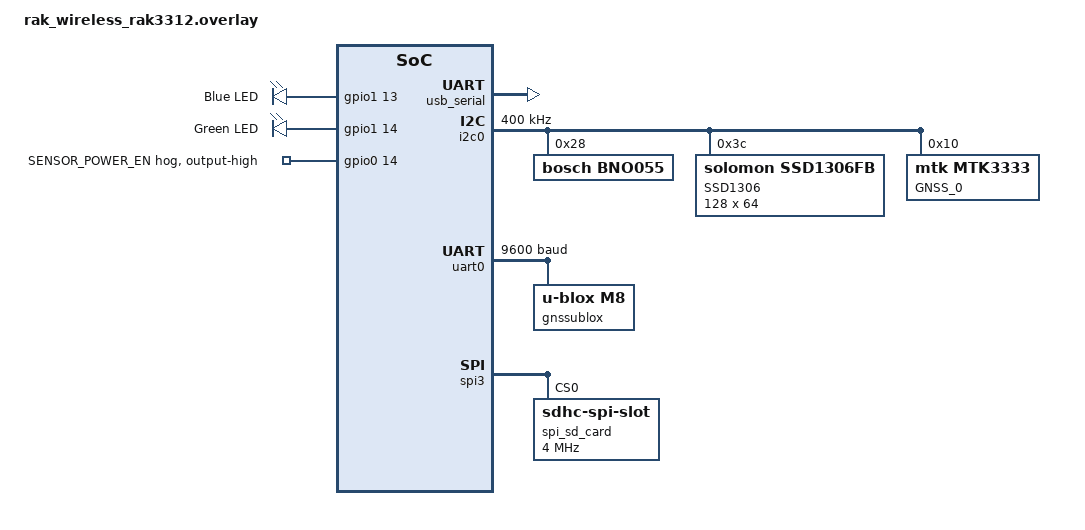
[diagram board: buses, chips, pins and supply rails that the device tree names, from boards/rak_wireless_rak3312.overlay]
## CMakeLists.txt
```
# SPDX-License-Identifier: Apache-2.0

cmake_minimum_required(VERSION 3.13.1)

get_filename_component(PARENT_DIR "${CMAKE_CURRENT_SOURCE_DIR}" DIRECTORY)
list(APPEND ZEPHYR_EXTRA_MODULES ${PARENT_DIR}/astro_custom_modules/libmicroros)
list(APPEND ZEPHYR_EXTRA_MODULES ${PARENT_DIR}/astro_custom_modules/sensor)
list(APPEND ZEPHYR_EXTRA_MODULES ${PARENT_DIR}/astro_custom_modules/iim42652_rak12033)
list(APPEND ZEPHYR_EXTRA_MODULES ${PARENT_DIR}/astro_custom_modules/gnss)

# Include local credentials (Wi-Fi SSID/password, agent IP) without committing them.
# Copy local.conf.example -> local.conf and fill in your values.
if(EXISTS "${CMAKE_CURRENT_SOURCE_DIR}/local.conf")
    list(APPEND OVERLAY_CONFIG "${CMAKE_CURRENT_SOURCE_DIR}/local.conf")
endif()

find_package(Zephyr REQUIRED HINTS $ENV{ZEPHYR_BASE})
project(microros_node)
if(CONFIG_PICOLIBC)
    add_compile_definitions(__STDC_WANT_LIB_EXT1__=1)
endif()

# The ESP32 WiFi adapter (libzephyr) and picolibc both define random().
# Allow the linker to pick the first definition (ESP32's) and ignore the duplicate.
if(CONFIG_WIFI_ESP32 AND CONFIG_PICOLIBC)
    zephyr_link_libraries(-Wl,--allow-multiple-definition)
endif()


target_sources(app PRIVATE src/node_main.cpp src/storage.cpp src/oled_wrapper.cpp src/oled_layout.cpp src/cfb_font_0608.c)
message(board name is ${BOARD} \n\n)
if(BOARD STREQUAL "adafruit_feather_esp32s3")
    target_sources(app PRIVATE src/status_class.cpp)
endif()
```

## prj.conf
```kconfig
CONFIG_GPIO=y

# Display / OLED
CONFIG_DISPLAY=y
CONFIG_CHARACTER_FRAMEBUFFER=y
CONFIG_CHARACTER_FRAMEBUFFER_USE_DEFAULT_FONTS=n
CONFIG_MICROROS=y
CONFIG_MICROROS_PUBLISHERS="8"
CONFIG_MICROROS_SUBSCRIBERS="5"
CONFIG_MICROROS_CLIENTS="5"
CONFIG_MICROROS_SERVERS="5"
CONFIG_MICROROS_XRCE_DDS_HISTORIC="8"
CONFIG_MICROROS_RMW_HISTORIC="8"
CONFIG_MICROROS_XRCE_DDS_MTU="512"
CONFIG_MICROROS_TRANSPORT_UDP=y
# Wi-Fi credentials and agent address are kept out of version control.
# Set them in local.conf (see local.conf.example).

CONFIG_NETWORKING=y
CONFIG_NET_IPV4=y
CONFIG_NET_IPV6=n
CONFIG_NET_UDP=y
CONFIG_NET_DHCPV4=y
CONFIG_NET_SOCKETS=y
CONFIG_NET_MGMT=y
CONFIG_NET_MGMT_EVENT=y
CONFIG_NET_MGMT_EVENT_INFO=y
CONFIG_NET_L2_WIFI_MGMT=y
CONFIG_WIFI=y
CONFIG_WIFI_ESP32=y
CONFIG_ESP32_WIFI_STA_AUTO_DHCPV4=y
CONFIG_CPP=y

CONFIG_MAIN_STACK_SIZE=8192

CONFIG_PICOLIBC=y
CONFIG_POSIX_API=y

CONFIG_STDOUT_CONSOLE=y
CONFIG_LOG=y
CONFIG_SERIAL=y
CONFIG_UART_CONSOLE=y
CONFIG_CONSOLE=y
CONFIG_PICOLIBC_MODULE=y
CONFIG_STD_CPP14=y
CONFIG_REQUIRES_FULL_LIBCPP=y
CONFIG_POSIX_CLOCK_SELECTION=y
```

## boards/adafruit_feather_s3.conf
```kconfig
# USB device (new stack)
CONFIG_USB_DEVICE_STACK_NEXT=y
CONFIG_USB_DEVICE_PRODUCT="ESP32_S3"
CONFIG_USB_DEVICE_MANUFACTURER="Arduino"

# CDC ACM class
CONFIG_USB_CDC_ACM=y

# Console over USB
CONFIG_SERIAL=y
CONFIG_UART_CONSOLE=y
CONFIG_UART_INTERRUPT_DRIVEN=y
CONFIG_CONSOLE=y

# Logging (optional but useful)
CONFIG_LOG=y
CONFIG_LOG_MODE_DEFERRED=y

CONFIG_MICROROS_TRANSPORT_UDP=y

#Neopixel
CONFIG_LED_STRIP=y
CONFIG_WS2812_STRIP_SPI=y
CONFIG_POWER_DOMAIN=y
CONFIG_POWER_DOMAIN_GPIO=y
#Sensors
CONFIG_I2C=y
CONFIG_SENSOR=y
CONFIG_SENSOR_LOG_LEVEL_DBG=y
CONFIG_CBPRINTF_FP_SUPPORT=y
CONFIG_CBPRINTF_COMPLETE=y


CONFIG_DISPLAY=y
CONFIG_SSD1306=y
CONFIG_SSD1306_DEFAULT_CONTRAST=128
CONFIG_CHARACTER_FRAMEBUFFER=y
CONFIG_CHARACTER_FRAMEBUFFER_USE_DEFAULT_FONTS=y
CONFIG_CFB_LOG_LEVEL_INF=y

CONFIG_GNSS=y
CONFIG_GNSS_SATELLITES=y
CONFIG_MTK3333=y

CONFIG_WATCHDOG=y
CONFIG_WDT_LOG_LEVEL_INF=y
CONFIG_HWINFO=y

# micro-ROS over Wi-Fi (UDP)
CONFIG_NETWORKING=y
CONFIG_NET_IPV4=y
CONFIG_NET_IPV6=n
CONFIG_NET_UDP=y
CONFIG_NET_DHCPV4=y
CONFIG_NET_SOCKETS=y
CONFIG_NET_MGMT=y
CONFIG_NET_MGMT_EVENT=y
CONFIG_NET_MGMT_EVENT_INFO=y
CONFIG_NET_L2_WIFI_MGMT=y
CONFIG_WIFI=y
CONFIG_WIFI_ESP32=y
CONFIG_ESP32_WIFI_STA_AUTO_DHCPV4=y

# Wi-Fi credentials and agent address are kept out of version control.
# Set them in local.conf (see local.conf.example).
```

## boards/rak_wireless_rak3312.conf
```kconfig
# USB device (new stack)
CONFIG_USB_DEVICE_STACK_NEXT=y
CONFIG_USB_DEVICE_PRODUCT="ESP32_S3"
CONFIG_USB_DEVICE_MANUFACTURER="RAK Wireless"

# CDC ACM class
CONFIG_USB_CDC_ACM=y

# Console over USB
CONFIG_SERIAL=y
CONFIG_UART_CONSOLE=y
CONFIG_UART_INTERRUPT_DRIVEN=y
CONFIG_CONSOLE=y

# Logging (optional but useful)
CONFIG_LOG=y
CONFIG_LOG_MODE_DEFERRED=y

CONFIG_MICROROS_TRANSPORT_UDP=y

CONFIG_PRINTK=y
CONFIG_LOG_DEFAULT_LEVEL=3

#Sensors
CONFIG_I2C=y
CONFIG_SENSOR=y
CONFIG_BNO055=y
CONFIG_SENSOR_LOG_LEVEL_DBG=y
CONFIG_CBPRINTF_FP_SUPPORT=y
CONFIG_CBPRINTF_COMPLETE=y
CONFIG_GPIO=y
CONFIG_IIM42652=y

CONFIG_DISPLAY=y
CONFIG_SSD1306=y
CONFIG_SSD1306_DEFAULT_CONTRAST=128
CONFIG_CHARACTER_FRAMEBUFFER=y
CONFIG_CHARACTER_FRAMEBUFFER_USE_DEFAULT_FONTS=y
CONFIG_CFB_LOG_LEVEL_INF=y

CONFIG_GNSS=y
CONFIG_GNSS_SATELLITES=y
CONFIG_MTK3333=y

CONFIG_ESP_SPIRAM=y
CONFIG_SPIRAM_MODE_OCT=y
CONFIG_ESP_SPIRAM_MEMTEST=y

CONFIG_WATCHDOG=y
CONFIG_WDT_LOG_LEVEL_INF=y
CONFIG_HWINFO=y

# Enable LED driver
CONFIG_LED=y
CONFIG_PM=n
CONFIG_PM_DEVICE=n
CONFIG_PM_DEVICE_RUNTIME=n

# SDMMC
CONFIG_FILE_SYSTEM=y
CONFIG_FAT_FILESYSTEM_ELM=y
CONFIG_FILE_SYSTEM_MKFS=y

CONFIG_DISK_ACCESS=y
CONFIG_DISK_DRIVER_SDMMC=y
CONFIG_SPI=y
CONFIG_GPIO=y
# Enable FAT Long Filename support
CONFIG_FS_FATFS_LFN=y
CONFIG_FS_FATFS_LFN_MODE_HEAP=y

# Shell access
CONFIG_SHELL=y
CONFIG_SHELL_BACKEND_SERIAL=y
CONFIG_FILE_SYSTEM_SHELL=y
CONFIG_KERNEL_SHELL=y


# ========== NEW USB STACK ==========
CONFIG_USB_DEVICE_INITIALIZE_AT_BOOT=n

# USB Mass Storage (NEW API)
CONFIG_USBD_MSC_CLASS=y
CONFIG_USBD_MSC_LUNS_PER_INSTANCE=3
CONFIG_CDC_ACM_SERIAL_INITIALIZE_AT_BOOT=n

# USB Device Info
CONFIG_USB_DEVICE_VID=0x2FE3
CONFIG_USB_DEVICE_PID=0x0100

# Heap (USB needs more)
CONFIG_HEAP_MEM_POOL_SIZE=65536

# USB Logging
CONFIG_USB_DEVICE_LOG_LEVEL_INF=y
CONFIG_USBD_LOG_LEVEL_INF=y

# micro-ROS over Wi-Fi (UDP)
CONFIG_NETWORKING=y
CONFIG_NET_IPV4=y
CONFIG_NET_IPV6=n
CONFIG_NET_UDP=y
CONFIG_NET_DHCPV4=y
CONFIG_NET_SOCKETS=y
CONFIG_NET_MGMT=y
CONFIG_NET_MGMT_EVENT=y
CONFIG_NET_MGMT_EVENT_INFO=y
CONFIG_NET_L2_WIFI_MGMT=y
CONFIG_WIFI=y
CONFIG_WIFI_ESP32=y
CONFIG_ESP32_WIFI_STA_AUTO_DHCPV4=y

# Wi-Fi credentials and agent address are kept out of version control.
# Set them in local.conf (see local.conf.example).
```

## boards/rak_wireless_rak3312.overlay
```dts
#include <zephyr/dt-bindings/led/led.h>


/ {
	chosen {
		zephyr,console = &usb_serial;
		zephyr,shell-uart = &usb_serial;
	};
    aliases {
        op-green-led = &green_led;
        op-blue-led = &blue_led;
        gnss = &gnssnode;
        ubloxgnss = &gnssublox;
    };
    leds {
		compatible = "gpio-leds";
		blue_led: led_0 {
			gpios = <&gpio1 13 GPIO_ACTIVE_HIGH>; /* G45 */
			label = "Blue LED";
		};
		green_led: led_1 {
			gpios = <&gpio1 14 GPIO_ACTIVE_HIGH>; /* G46 */
			label = "Green LED";
		};
	};
};

&usb_serial {
	status = "okay";
};
&gpio1 {
	status = "okay";
};

&gpio0 {
    status = "okay";
     /*
     * Needed to power the sensor slot A ( and possibly B , C and D )
     */
    sensor_slot_power: sensor-slot-power {
        gpio-hog;
        gpios = <14 GPIO_ACTIVE_HIGH>;
        output-high;
        line-name = "SENSOR_POWER_EN";
    };
};



&i2c0 {
	status = "okay";
	pinctrl-0 = <&i2c0_default>;
	pinctrl-names = "default";
	clock-frequency = <I2C_BITRATE_FAST>;
    bno055: bno055@28 {
        status = "okay";
        compatible = "bosch,bno055";
        reg = <0x28>;
        use_xtal;
        zephyr,deferred-init;
    };
    iim42652: iim42652@69 {
        status = "disabled";
        compatible = "tdk,iim42652";
        reg = <0x69>;
        zephyr,deferred-init;
    };
    ssd1306: ssd1306@3c {
        status = "okay";
        compatible = "solomon,ssd1306fb";
        reg = <0x3c>;
        width = <128>;
        height = <64>;

        segment-offset = <0>;
        page-offset = <0>;
        display-offset = <0>;
        multiplex-ratio = <63>;
        prechargep = <0x22>;
        label = "SSD1306";
        ready-time-ms = <1000>;
        segment-remap;
        com-invdir;
    };
    gnssnode: gnss@10 {
        compatible = "mtk,mtk3333";
        reg = <0x10>;
        label = "GNSS_0";
        status = "okay";
    };
};

&uart0 {
    status = "okay";
    current-speed = <9600>;
    gnssublox: u_blox_m10 {
        status = "okay";
        compatible = "u-blox,m8";
        initial-baudrate = <9600>;
    };
};

&spi3 {
    status = "okay";
    pinctrl-0 = <&spim3_default>;
    pinctrl-names = "default";
    /* Override address/size cells for proper SPI device addressing */
    #address-cells = <1>;
    #size-cells = <0>;
    spi_sd_card: sdhc@0 {  /* Changed label from sdhc0 to spi_sd_card */
        compatible = "zephyr,sdhc-spi-slot";
        reg = <0>;
        status = "okay";
        spi-max-frequency = <4000000>;

        mmc {
            compatible = "zephyr,sdmmc-disk";
            disk-name = "SD";
            status = "okay";
        };
    };
};
```

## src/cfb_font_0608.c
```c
/*
 * This file was automatically generated using the following command:
 * /projects/github_repos/astro/zephyr_workspace/zephyr/scripts/build/gen_cfb_font_header.py -i /usr/share/fonts/truetype/dejavu/DejaVuSansMono.ttf -s 9 -x 6 -y 8 -n font0608 --first 32 --last 126 --y-offset -2
 *
 */

#include <zephyr/kernel.h>
#include <zephyr/display/cfb.h>

static const uint8_t cfb_font_font0608_68[95][6] = {
	/* 32 ( ) */
	{
		0x00,   /*          */
		0x00,   /*          */
		0x00,   /*          */
		0x00,   /*          */
		0x00,   /*          */
		0x00,   /*          */
	},
	/* 33 (!) */
	{
		0x00,   /*          */
		0x00,   /*          */
		0x5f,   /* ##### #  */
		0x00,   /*          */
		0x00,   /*          */
		0x00,   /*          */
	},
	/* 34 (") */
	{
		0x00,   /*          */
		0x03,   /* ##       */
		0x00,   /*          */
		0x03,   /* ##       */
		0x00,   /*          */
		0x00,   /*          */
	},
	/* 35 (#) */
	{
		0x54,   /*   # # #  */
		0x3e,   /*  #####   */
		0x75,   /* # # ###  */
		0x1f,   /* #####    */
		0x14,   /*   # #    */
		0x00,   /*          */
	},
	/* 36 ($) */
	{
		0x00,   /*          */
		0x4c,   /*   ##  #  */
		0x4a,   /*  # #  #  */
		0xff,   /* ######## */
		0x52,   /*  #  # #  */
		0x32,   /*  #  ##   */
	},
	/* 37 (%) */
	{
		0x07,   /* ###      */
		0x15,   /* # # #    */
		0x7f,   /* #######  */
		0x58,   /*    ## #  */
		0x74,   /*   # ###  */
		0x00,   /*          */
	},
	/* 38 (&) */
	{
		0x00,   /*          */
		0x30,   /*     ##   */
		0x4f,   /* ####  #  */
		0x79,   /* #  ####  */
		0x51,   /* #   # #  */
		0x00,   /*          */
	},
	/* 39 (') */
	{
		0x00,   /*          */
		0x00,   /*          */
		0x03,   /* ##       */
		0x00,   /*          */
		0x00,   /*          */
		0x00,   /*          */
	},
	/* 40 (() */
	{
		0x00,   /*          */
		0x00,   /*          */
		0x3f,   /* ######   */
		0x40,   /*       #  */
		0x00,   /*          */
		0x00,   /*          */
	},
	/* 41 ()) */
	{
		0x00,   /*          */
		0x00,   /*          */
		0x61,   /* #    ##  */
		0x1e,   /*  ####    */
		0x00,   /*          */
		0x00,   /*          */
	},
	/* 42 (*) */
	{
		0x09,   /* #  #     */
		0x06,   /*  ##      */
		0x0f,   /* ####     */
		0x06,   /*  ##      */
		0x09,   /* #  #     */
		0x00,   /*          */
	},
	/* 43 (+) */
	{
		0x10,   /*     #    */
		0x10,   /*     #    */
		0x7c,   /*   #####  */
		0x10,   /*     #    */
		0x10,   /*     #    */
		0x00,   /*          */
	},
	/* 44 (,) */
	{
		0x00,   /*          */
		0x00,   /*          */
		0xc0,   /*       ## */
		0x00,   /*          */
		0x00,   /*          */
		0x00,   /*          */
	},
	/* 45 (-) */
	{
		0x00,   /*          */
		0x00,   /*          */
		0x10,   /*     #    */
		0x10,   /*     #    */
		0x00,   /*          */
		0x00,   /*          */
	},
	/* 46 (.) */
	{
		0x00,   /*          */
		0x00,   /*          */
		0x40,   /*       #  */
		0x00,   /*          */
		0x00,   /*          */
		0x00,   /*          */
	},
	/* 47 (/) */
	{
		0x40,   /*       #  */
		0x38,   /*    ###   */
		0x0e,   /*  ###     */
		0x01,   /* #        */
		0x00,   /*          */
		0x00,   /*          */
	},
	/* 48 (0) */
	{
		0x00,   /*          */
		0x3e,   /*  #####   */
		0x41,   /* #     #  */
		0x49,   /* #  #  #  */
		0x3e,   /*  #####   */
		0x00,   /*          */
	},
	/* 49 (1) */
	{
		0x00,   /*          */
		0x00,   /*          */
		0x41,   /* #     #  */
		0x7f,   /* #######  */
		0x40,   /*       #  */
		0x00,   /*          */
	},
	/* 50 (2) */
	{
		0x00,   /*          */
		0x62,   /*  #   ##  */
		0x71,   /* #   ###  */
		0x59,   /* #  ## #  */
		0x4e,   /*  ###  #  */
		0x00,   /*          */
	},
	/* 51 (3) */
	{
		0x00,   /*          */
		0x42,   /*  #    #  */
		0x49,   /* #  #  #  */
		0x49,   /* #  #  #  */
		0x36,   /*  ## ##   */
		0x00,   /*          */
	},
	/* 52 (4) */
	{
		0x00,   /*          */
		0x30,   /*     ##   */
		0x2c,   /*   ## #   */
		0x7f,   /* #######  */
		0x20,   /*      #   */
		0x00,   /*          */
	},
	/* 53 (5) */
	{
		0x00,   /*          */
		0x4f,   /* ####  #  */
		0x49,   /* #  #  #  */
		0x49,   /* #  #  #  */
		0x31,   /* #   ##   */
		0x00,   /*          */
	},
	/* 54 (6) */
	{
		0x00,   /*          */
		0x3e,   /*  #####   */
		0x4b,   /* ## #  #  */
		0x49,   /* #  #  #  */
		0x39,   /* #  ###   */
		0x00,   /*          */
	},
	/* 55 (7) */
	{
		0x00,   /*          */
		0x01,   /* #        */
		0x61,   /* #    ##  */
		0x3d,   /* # ####   */
		0x03,   /* ##       */
		0x00,   /*          */
	},
	/* 56 (8) */
	{
		0x00,   /*          */
		0x36,   /*  ## ##   */
		0x49,   /* #  #  #  */
		0x49,   /* #  #  #  */
		0x36,   /*  ## ##   */
		0x00,   /*          */
	},
	/* 57 (9) */
	{
		0x00,   /*          */
		0x4e,   /*  ###  #  */
		0x49,   /* #  #  #  */
		0x69,   /* #  # ##  */
		0x3e,   /*  #####   */
		0x00,   /*          */
	},
	/* 58 (:) */
	{
		0x00,   /*          */
		0x00,   /*          */
		0x44,   /*   #   #  */
		0x00,   /*          */
		0x00,   /*          */
		0x00,   /*          */
	},
	/* 59 (;) */
	{
		0x00,   /*          */
		0x00,   /*          */
		0xc4,   /*   #   ## */
		0x00,   /*          */
		0x00,   /*          */
		0x00,   /*          */
	},
	/* 60 (<) */
	{
		0x00,   /*          */
		0x10,   /*     #    */
		0x18,   /*    ##    */
		0x18,   /*    ##    */
		0x28,   /*    # #   */
		0x24,   /*   #  #   */
	},
	/* 61 (=) */
	{
		0x28,   /*    # #   */
		0x28,   /*    # #   */
		0x28,   /*    # #   */
		0x28,   /*    # #   */
		0x28,   /*    # #   */
		0x00,   /*          */
	},
	/* 62 (>) */
	{
		0x00,   /*          */
		0x24,   /*   #  #   */
		0x28,   /*    # #   */
		0x18,   /*    ##    */
		0x18,   /*    ##    */
		0x10,   /*     #    */
	},
	/* 63 (?) */
	{
		0x00,   /*          */
		0x01,   /* #        */
		0x59,   /* #  ## #  */
		0x05,   /* # #      */
		0x03,   /* ##       */
		0x00,   /*          */
	},
	/* 64 (@) */
	{
		0x00,   /*          */
		0x7c,   /*   #####  */
		0xc2,   /*  #    ## */
		0xba,   /*  # ### # */
		0x3c,   /*   ####   */
		0x00,   /*          */
	},
	/* 65 (A) */
	{
		0x00,   /*          */
		0x78,   /*    ####  */
		0x27,   /* ###  #   */
		0x27,   /* ###  #   */
		0x78,   /*    ####  */
		0x00,   /*          */
	},
	/* 66 (B) */
	{
		0x00,   /*          */
		0x7f,   /* #######  */
		0x49,   /* #  #  #  */
		0x49,   /* #  #  #  */
		0x76,   /*  ## ###  */
		0x00,   /*          */
	},
	/* 67 (C) */
	{
		0x00,   /*          */
		0x3e,   /*  #####   */
		0x41,   /* #     #  */
		0x41,   /* #     #  */
		0x41,   /* #     #  */
		0x00,   /*          */
	},
	/* 68 (D) */
	{
		0x00,   /*          */
		0x7f,   /* #######  */
		0x41,   /* #     #  */
		0x41,   /* #     #  */
		0x3e,   /*  #####   */
		0x00,   /*          */
	},
	/* 69 (E) */
	{
		0x00,   /*          */
		0x7f,   /* #######  */
		0x49,   /* #  #  #  */
		0x49,   /* #  #  #  */
		0x49,   /* #  #  #  */
		0x00,   /*          */
	},
	/* 70 (F) */
	{
		0x00,   /*          */
		0x7f,   /* #######  */
		0x09,   /* #  #     */
		0x09,   /* #  #     */
		0x09,   /* #  #     */
		0x00,   /*          */
	},
	/* 71 (G) */
	{
		0x00,   /*          */
		0x3e,   /*  #####   */
		0x41,   /* #     #  */
		0x49,   /* #  #  #  */
		0x79,   /* #  ####  */
		0x00,   /*          */
	},
	/* 72 (H) */
	{
		0x00,   /*          */
		0x7f,   /* #######  */
		0x08,   /*    #     */
		0x08,   /*    #     */
		0x7f,   /* #######  */
		0x00,   /*          */
	},
	/* 73 (I) */
	{
		0x00,   /*          */
		0x41,   /* #     #  */
		0x7f,   /* #######  */
		0x41,   /* #     #  */
		0x00,   /*          */
		0x00,   /*          */
	},
	/* 74 (J) */
	{
		0x00,   /*          */
		0x40,   /*       #  */
		0x41,   /* #     #  */
		0x41,   /* #     #  */
		0x7f,   /* #######  */
		0x00,   /*          */
	},
	/* 75 (K) */
	{
		0x00,   /*          */
		0x7f,   /* #######  */
		0x0c,   /*   ##     */
		0x32,   /*  #  ##   */
		0x41,   /* #     #  */
		0x00,   /*          */
	},
	/* 76 (L) */
	{
		0x00,   /*          */
		0x7f,   /* #######  */
		0x40,   /*       #  */
		0x40,   /*       #  */
		0x40,   /*       #  */
		0x00,   /*          */
	},
	/* 77 (M) */
	{
		0x00,   /*          */
		0x7f,   /* #######  */
		0x1e,   /*  ####    */
		0x1e,   /*  ####    */
		0x7f,   /* #######  */
		0x00,   /*          */
	},
	/* 78 (N) */
	{
		0x00,   /*          */
		0x7f,   /* #######  */
		0x06,   /*  ##      */
		0x38,   /*    ###   */
		0x7f,   /* #######  */
		0x00,   /*          */
	},
	/* 79 (O) */
	{
		0x00,   /*          */
		0x3e,   /*  #####   */
		0x41,   /* #     #  */
		0x41,   /* #     #  */
		0x3e,   /*  #####   */
		0x00,   /*          */
	},
	/* 80 (P) */
	{
		0x00,   /*          */
		0x7f,   /* #######  */
		0x09,   /* #  #     */
		0x09,   /* #  #     */
		0x06,   /*  ##      */
		0x00,   /*          */
	},
	/* 81 (Q) */
	{
		0x00,   /*          */
		0x3e,   /*  #####   */
		0x41,   /* #     #  */
		0x41,   /* #     #  */
		0xbe,   /*  ##### # */
		0x00,   /*          */
	},
	/* 82 (R) */
	{
		0x00,   /*          */
		0x7f,   /* #######  */
		0x09,   /* #  #     */
		0x19,   /* #  ##    */
		0x36,   /*  ## ##   */
		0x40,   /*       #  */
	},
	/* 83 (S) */
	{
		0x00,   /*          */
		0x26,   /*  ##  #   */
		0x49,   /* #  #  #  */
		0x49,   /* #  #  #  */
		0x3a,   /*  # ###   */
		0x00,   /*          */
	},
	/* 84 (T) */
	{
		0x01,   /* #        */
		0x01,   /* #        */
		0x7f,   /* #######  */
		0x01,   /* #        */
		0x01,   /* #        */
		0x00,   /*          */
	},
	/* 85 (U) */
	{
		0x00,   /*          */
		0x3f,   /* ######   */
		0x40,   /*       #  */
		0x40,   /*       #  */
		0x3f,   /* ######   */
		0x00,   /*          */
	},
	/* 86 (V) */
	{
		0x00,   /*          */
		0x03,   /* ##       */
		0x7c,   /*   #####  */
		0x7c,   /*   #####  */
		0x03,   /* ##       */
		0x00,   /*          */
	},
	/* 87 (W) */
	{
		0x0f,   /* ####     */
		0x78,   /*    ####  */
		0x04,   /*   #      */
		0x78,   /*    ####  */
		0x0f,   /* ####     */
		0x00,   /*          */
	},
	/* 88 (X) */
	{
		0x00,   /*          */
		0x63,   /* ##   ##  */
		0x1c,   /*   ###    */
		0x1c,   /*   ###    */
		0x63,   /* ##   ##  */
		0x00,   /*          */
	},
	/* 89 (Y) */
	{
		0x01,   /* #        */
		0x06,   /*  ##      */
		0x78,   /*    ####  */
		0x06,   /*  ##      */
		0x01,   /* #        */
		0x00,   /*          */
	},
	/* 90 (Z) */
	{
		0x00,   /*          */
		0x61,   /* #    ##  */
		0x51,   /* #   # #  */
		0x4d,   /* # ##  #  */
		0x43,   /* ##    #  */
		0x00,   /*          */
	},
	/* 91 ([) */
	{
		0x00,   /*          */
		0x00,   /*          */
		0x7f,   /* #######  */
		0x40,   /*       #  */
		0x00,   /*          */
		0x00,   /*          */
	},
	/* 92 (\) */
	{
		0x01,   /* #        */
		0x0e,   /*  ###     */
		0x38,   /*    ###   */
		0x40,   /*       #  */
		0x00,   /*          */
		0x00,   /*          */
	},
	/* 93 (]) */
	{
		0x00,   /*          */
		0x00,   /*          */
		0x40,   /*       #  */
		0x7f,   /* #######  */
		0x00,   /*          */
		0x00,   /*          */
	},
	/* 94 (^) */
	{
		0x02,   /*  #       */
		0x02,   /*  #       */
		0x01,   /* #        */
		0x02,   /*  #       */
		0x00,   /*          */
		0x00,   /*          */
	},
	/* 95 (_) */
	{
		0x00,   /*          */
		0x00,   /*          */
		0x00,   /*          */
		0x00,   /*          */
		0x00,   /*          */
		0x00,   /*          */
	},
	/* 96 (`) */
	{
		0x00,   /*          */
		0x00,   /*          */
		0x01,   /* #        */
		0x00,   /*          */
		0x00,   /*          */
		0x00,   /*          */
	},
	/* 97 (a) */
	{
		0x00,   /*          */
		0x74,   /*   # ###  */
		0x54,   /*   # # #  */
		0x54,   /*   # # #  */
		0x78,   /*    ####  */
		0x00,   /*          */
	},
	/* 98 (b) */
	{
		0x00,   /*          */
		0x7f,   /* #######  */
		0x44,   /*   #   #  */
		0x44,   /*   #   #  */
		0x38,   /*    ###   */
		0x00,   /*          */
	},
	/* 99 (c) */
	{
		0x00,   /*          */
		0x38,   /*    ###   */
		0x44,   /*   #   #  */
		0x44,   /*   #   #  */
		0x44,   /*   #   #  */
		0x00,   /*          */
	},
	/* 100 (d) */
	{
		0x00,   /*          */
		0x38,   /*    ###   */
		0x44,   /*   #   #  */
		0x44,   /*   #   #  */
		0x7f,   /* #######  */
		0x00,   /*          */
	},
	/* 101 (e) */
	{
		0x00,   /*          */
		0x38,   /*    ###   */
		0x54,   /*   # # #  */
		0x54,   /*   # # #  */
		0x58,   /*    ## #  */
		0x00,   /*          */
	},
	/* 102 (f) */
	{
		0x00,   /*          */
		0x04,   /*   #      */
		0x7f,   /* #######  */
		0x04,   /*   #      */
		0x04,   /*   #      */
		0x00,   /*          */
	},
	/* 103 (g) */
	{
		0x00,   /*          */
		0x38,   /*    ###   */
		0x44,   /*   #   #  */
		0x44,   /*   #   #  */
		0xfc,   /*   ###### */
		0x00,   /*          */
	},
	/* 104 (h) */
	{
		0x00,   /*          */
		0x7f,   /* #######  */
		0x04,   /*   #      */
		0x04,   /*   #      */
		0x7c,   /*   #####  */
		0x00,   /*          */
	},
	/* 105 (i) */
	{
		0x40,   /*       #  */
		0x44,   /*   #   #  */
		0x7c,   /*   #####  */
		0x40,   /*       #  */
		0x40,   /*       #  */
		0x00,   /*          */
	},
	/* 106 (j) */
	{
		0x00,   /*          */
		0x00,   /*          */
		0x04,   /*   #      */
		0xfc,   /*   ###### */
		0x00,   /*          */
		0x00,   /*          */
	},
	/* 107 (k) */
	{
		0x00,   /*          */
		0x7f,   /* #######  */
		0x10,   /*     #    */
		0x28,   /*    # #   */
		0x44,   /*   #   #  */
		0x00,   /*          */
	},
	/* 108 (l) */
	{
		0x00,   /*          */
		0x00,   /*          */
		0x3f,   /* ######   */
		0x40,   /*       #  */
		0x40,   /*       #  */
		0x00,   /*          */
	},
	/* 109 (m) */
	{
		0x00,   /*          */
		0x7c,   /*   #####  */
		0x04,   /*   #      */
		0x7c,   /*   #####  */
		0x04,   /*   #      */
		0x7c,   /*   #####  */
	},
	/* 110 (n) */
	{
		0x00,   /*          */
		0x7c,   /*   #####  */
		0x04,   /*   #      */
		0x04,   /*   #      */
		0x7c,   /*   #####  */
		0x00,   /*          */
	},
	/* 111 (o) */
	{
		0x00,   /*          */
		0x38,   /*    ###   */
		0x44,   /*   #   #  */
		0x44,   /*   #   #  */
		0x38,   /*    ###   */
		0x00,   /*          */
	},
	/* 112 (p) */
	{
		0x00,   /*          */
		0xfc,   /*   ###### */
		0x44,   /*   #   #  */
		0x44,   /*   #   #  */
		0x38,   /*    ###   */
		0x00,   /*          */
	},
	/* 113 (q) */
	{
		0x00,   /*          */
		0x38,   /*    ###   */
		0x44,   /*   #   #  */
		0x44,   /*   #   #  */
		0xfc,   /*   ###### */
		0x00,   /*          */
	},
	/* 114 (r) */
	{
		0x00,   /*          */
		0x00,   /*          */
		0x7c,   /*   #####  */
		0x04,   /*   #      */
		0x04,   /*   #      */
		0x00,   /*          */
	},
	/* 115 (s) */
	{
		0x00,   /*          */
		0x4c,   /*   ##  #  */
		0x54,   /*   # # #  */
		0x54,   /*   # # #  */
		0x74,   /*   # ###  */
		0x00,   /*          */
	},
	/* 116 (t) */
	{
		0x00,   /*          */
		0x04,   /*   #      */
		0x7e,   /*  ######  */
		0x44,   /*   #   #  */
		0x44,   /*   #   #  */
		0x00,   /*          */
	},
	/* 117 (u) */
	{
		0x00,   /*          */
		0x7c,   /*   #####  */
		0x40,   /*       #  */
		0x40,   /*       #  */
		0x7c,   /*   #####  */
		0x00,   /*          */
	},
	/* 118 (v) */
	{
		0x00,   /*          */
		0x0c,   /*   ##     */
		0x70,   /*     ###  */
		0x70,   /*     ###  */
		0x0c,   /*   ##     */
		0x00,   /*          */
	},
	/* 119 (w) */
	{
		0x0c,   /*   ##     */
		0x70,   /*     ###  */
		0x08,   /*    #     */
		0x70,   /*     ###  */
		0x0c,   /*   ##     */
		0x00,   /*          */
	},
	/* 120 (x) */
	{
		0x00,   /*          */
		0x44,   /*   #   #  */
		0x38,   /*    ###   */
		0x38,   /*    ###   */
		0x44,   /*   #   #  */
		0x00,   /*          */
	},
	/* 121 (y) */
	{
		0x00,   /*          */
		0x0c,   /*   ##     */
		0xf0,   /*     #### */
		0x30,   /*     ##   */
		0x0c,   /*   ##     */
		0x00,   /*          */
	},
	/* 122 (z) */
	{
		0x00,   /*          */
		0x44,   /*   #   #  */
		0x74,   /*   # ###  */
		0x5c,   /*   ### #  */
		0x44,   /*   #   #  */
		0x00,   /*          */
	},
	/* 123 ({) */
	{
		0x00,   /*          */
		0x04,   /*   #      */
		0x7b,   /* ## ####  */
		0x40,   /*       #  */
		0x00,   /*          */
		0x00,   /*          */
	},
	/* 124 (|) */
	{
		0x00,   /*          */
		0x00,   /*          */
		0xff,   /* ######## */
		0x00,   /*          */
		0x00,   /*          */
		0x00,   /*          */
	},
	/* 125 (}) */
	{
		0x00,   /*          */
		0x40,   /*       #  */
		0x7b,   /* ## ####  */
		0x04,   /*   #      */
		0x00,   /*          */
		0x00,   /*          */
	},
	/* 126 (~) */
	{
		0x00,   /*          */
		0x08,   /*    #     */
		0x08,   /*    #     */
		0x08,   /*    #     */
		0x10,   /*     #    */
		0x10,   /*     #    */
	},

};

FONT_ENTRY_DEFINE(font0608_68,
		  6,
		  8,
		  CFB_FONT_MONO_VPACKED,
		  cfb_font_font0608_68,
		  32,
		  126
);
```

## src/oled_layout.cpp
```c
/*
 *   This file is part of astro.
 *
 *   astro is free software: you can redistribute it and/or modify
 *   it under the terms of the GNU General Public License as published by
 *   the Free Software Foundation, either version 3 of the License, or
 *   (at your option) any later version.
 *
 *   astro is distributed in the hope that it will be useful,
 *   but WITHOUT ANY WARRANTY; without even the implied warranty of
 *   MERCHANTABILITY or FITNESS FOR A PARTICULAR PURPOSE.  See the
 *   GNU General Public License for more details.
 *
 *   You should have received a copy of the GNU General Public License v3.0
 *   along with astro.  If not, see <https://www.gnu.org/licenses/>.
 */

#include "oled_layout.hpp"

#include <errno.h>

#include <cstdio>
#include <cstring>

namespace {
constexpr uint8_t CLOCK_ICON_8X8[] = {
    0b00111100, 0b01000010, 0b10011001, 0b10100001, 0b10111101, 0b10000001, 0b01000010, 0b00111100,
};

constexpr uint8_t SATELLITE_ICON_14X10[] = {
    0b00001111, 0b00000000, 0b11011111, 0b11101100, 0b11011111, 0b11101100, 0b11111111,
    0b11111100, 0b11011111, 0b11101100, 0b11001111, 0b11001100, 0b00000111, 0b10000000,
    0b00001111, 0b11000000, 0b00011100, 0b11100000, 0b00110000, 0b00110000,
};

constexpr uint8_t IMU_AXIS_ICON_16X16[] = {
    0x00, 0x40, 0x00, 0xE0, 0x00, 0x40, 0x00, 0x40, 0x00, 0x40, 0x00, 0x40, 0x00, 0x40, 0x00, 0x46,
    0x00, 0xFF, 0x00, 0xC6, 0x01, 0x00, 0x02, 0x00, 0x04, 0x00, 0x28, 0x00, 0x38, 0x00, 0x10, 0x00,
};

constexpr uint8_t TEMP_PRESS_ICON_16X16[] = {
    0b00000110, 0b00000000, 0b00001111, 0b00011000, 0b00001111, 0b00111100, 0b00001111, 0b00011000,
    0b00001111, 0b00000000, 0b00001111, 0b00011000, 0b00001111, 0b00111100, 0b00001111, 0b01111110,
    0b00001111, 0b00111100, 0b00011111, 0b00011000, 0b00011111, 0b00000000, 0b00111111, 0b10000000,
    0b00111111, 0b10000000, 0b00111111, 0b10000000, 0b00011111, 0b00000000, 0b00001111, 0b00000000,
};

constexpr uint8_t WIFI_ICON_24X16[] = {
    0b00000000, 0b01111110, 0b00000000, 0b00000001, 0b11111111, 0b00000000, 0b00000011, 0b10000001,
    0b10000000, 0b00000110, 0b00000000, 0b11000000, 0b00001100, 0b01111110, 0b01100000, 0b00011000,
    0b11111111, 0b00110000, 0b00110001, 0b10000001, 0b10011000, 0b01100011, 0b00000000, 0b11001100,
    0b00000110, 0b00000000, 0b01100000, 0b00001100, 0b00111100, 0b00110000, 0b00000000, 0b01111110,
    0b00000000, 0b00000000, 0b00011000, 0b00000000, 0b00000000, 0b00111100, 0b00000000, 0b00000000,
    0b00111100, 0b00000000, 0b00000000, 0b00011000, 0b00000000, 0b00000000, 0b00000000, 0b00000000,
};

constexpr uint8_t WAITING_ICON_16X16[] = {
    0b00000111, 0b11100000, 0b00011000, 0b00011000, 0b00100000, 0b00000100, 0b01000011, 0b11000010,
    0b01000100, 0b00100010, 0b10001000, 0b00010001, 0b10001000, 0b00010001, 0b10001000, 0b00010001,
    0b10001000, 0b11010001, 0b10001000, 0b01010001, 0b10001000, 0b00110001, 0b01000100, 0b00000010,
    0b01000011, 0b00000100, 0b00100000, 0b00001000, 0b00011000, 0b00110000, 0b00000111, 0b11000000,
};
}  // namespace

OLEDLayout::OLEDLayout(OLEDWrapper* oled_wrapper) : oled_wrapper(oled_wrapper) { k_mutex_init(&display_mutex); }

int OLEDLayout::init_screen() {
    if (oled_wrapper == nullptr) {
        return -ENODEV;
    }
    return oled_wrapper->init();
}

void OLEDLayout::set_display_updates_enabled(bool enabled) {
    k_mutex_lock(&display_mutex, K_FOREVER);
    display_updates_enabled = enabled;
    k_mutex_unlock(&display_mutex);
}

void OLEDLayout::print_at_position(const char* text, int x, int y) {
    if (oled_wrapper != nullptr && text != nullptr) {
        oled_wrapper->print(text, x, y);
    }
}

bool OLEDLayout::is_view_active(View view) const { return active_view == view; }

void OLEDLayout::set_view(View view) {
    k_mutex_lock(&display_mutex, K_FOREVER);
    active_view = view;
    if (!display_updates_enabled) {
        k_mutex_unlock(&display_mutex);
        return;
    }
    show_active_view_locked();
    k_mutex_unlock(&display_mutex);
}

void OLEDLayout::next_view() {
    k_mutex_lock(&display_mutex, K_FOREVER);
    const uint8_t current = static_cast<uint8_t>(active_view);
    const uint8_t next = static_cast<uint8_t>((current + 1U) % 3U);
    active_view = static_cast<View>(next);
    if (!display_updates_enabled) {
        k_mutex_unlock(&display_mutex);
        return;
    }
    show_active_view_locked();
    k_mutex_unlock(&display_mutex);
}

OLEDLayout::View OLEDLayout::get_view() const { return active_view; }

void OLEDLayout::show_active_view() {
    k_mutex_lock(&display_mutex, K_FOREVER);
    show_active_view_locked();
    k_mutex_unlock(&display_mutex);
}

void OLEDLayout::show_active_view_locked() {
    if (oled_wrapper == nullptr || !display_updates_enabled) {
        return;
    }

    oled_wrapper->clear();

    if (active_view == View::SATELLITE) {
        draw_satellite_view_layout();
        render_satellite_values();
    } else if (active_view == View::TEMP_PRESSURE) {
        draw_temp_pressure_view_layout();
        render_temp_pressure_values();
    } else {
        draw_imu_view_layout();
        render_imu_values();
    }

    oled_wrapper->finalize();
}

void OLEDLayout::draw_satellite_view_layout() {
    // Vertical partition: left MTK3333, right uBlox.
    oled_wrapper->draw_vertical_line(SAT_SPLIT_X, 0, SCREEN_HEIGHT - 1);

    print_at_position("MTK", 3, SAT_HEADER_Y);
    draw_satellite_icon(27, SAT_HEADER_Y + 1);

    print_at_position("UBX", SAT_SPLIT_X + 2, SAT_HEADER_Y);
    draw_satellite_icon(SAT_SPLIT_X + 33, SAT_HEADER_Y + 1);

    draw_clock_icon(3, SAT_TIME_Y + 1);
    draw_clock_icon(SAT_SPLIT_X + 9, SAT_TIME_Y + 1);

    print_at_position("Lt:", 2, SAT_LAT_Y);
    print_at_position("Ln:", 2, SAT_LON_Y);
    print_at_position("Al:", 2, SAT_ALT_Y);

    print_at_position("Lt:", SAT_SPLIT_X + 8, SAT_LAT_Y);
    print_at_position("Ln:", SAT_SPLIT_X + 8, SAT_LON_Y);
    print_at_position("Al:", SAT_SPLIT_X + 8, SAT_ALT_Y);
}

void OLEDLayout::draw_temp_pressure_view_layout() {
    print_at_position("TEMP & PRESS", TP_TITLE_X, TP_TITLE_Y);
    draw_temp_pressure_icon(2, TP_TEMP_Y - 4);
}

void OLEDLayout::draw_imu_view_layout() {
    print_at_position("IMU", IMU_TITLE_X, IMU_TITLE_Y);
    draw_imu_axis_icon(IMU_AXIS_X, IMU_AXIS_Y);
}

void OLEDLayout::render_satellite_values() {
    char buffer[16] = {0};

    print_at_position("     ", 14, SAT_TIME_Y);
    print_at_position(mtk_time_cache, 14, SAT_TIME_Y);
    print_at_position("     ", SAT_SPLIT_X + 18, SAT_TIME_Y);
    print_at_position(ublox_time_cache, SAT_SPLIT_X + 18, SAT_TIME_Y);

    if (mtk_sat_cache >= 0) {
        snprintf(buffer, sizeof(buffer), "[%d]", mtk_sat_cache);
    } else {
        snprintf(buffer, sizeof(buffer), "[--]");
    }
    print_at_position("     ", 14, SAT_COUNT_Y);
    print_at_position(buffer, 14, SAT_COUNT_Y);

    if (ublox_sat_cache >= 0) {
        snprintf(buffer, sizeof(buffer), "[%d]", ublox_sat_cache);
    } else {
        snprintf(buffer, sizeof(buffer), "[--]");
    }
    print_at_position("     ", SAT_SPLIT_X + 18, SAT_COUNT_Y);
    print_at_position(buffer, SAT_SPLIT_X + 18, SAT_COUNT_Y);

    if (has_mtk_location_cache) {
        snprintf(buffer, sizeof(buffer), "%+0.1f", mtk_lat_cache);
        print_at_position("      ", 20, SAT_LAT_Y);
        print_at_position(buffer, 20, SAT_LAT_Y);

        snprintf(buffer, sizeof(buffer), "%+0.1f", mtk_lon_cache);
        print_at_position("      ", 20, SAT_LON_Y);
        print_at_position(buffer, 20, SAT_LON_Y);

        snprintf(buffer, sizeof(buffer), "%0.0fm", mtk_alt_cache);
        print_at_position("      ", 20, SAT_ALT_Y);
        print_at_position(buffer, 20, SAT_ALT_Y);
    } else {
        print_at_position("--.-  ", 20, SAT_LAT_Y);
        print_at_position("--.-  ", 20, SAT_LON_Y);
        print_at_position("---m  ", 20, SAT_ALT_Y);
    }

    if (has_ublox_location_cache) {
        snprintf(buffer, sizeof(buffer), "%+0.1f", ublox_lat_cache);
        print_at_position("      ", SAT_SPLIT_X + 24, SAT_LAT_Y);
        print_at_position(buffer, SAT_SPLIT_X + 24, SAT_LAT_Y);

        snprintf(buffer, sizeof(buffer), "%+0.1f", ublox_lon_cache);
        print_at_position("      ", SAT_SPLIT_X + 24, SAT_LON_Y);
        print_at_position(buffer, SAT_SPLIT_X + 24, SAT_LON_Y);

        snprintf(buffer, sizeof(buffer), "%0.0fm", ublox_alt_cache);
        print_at_position("      ", SAT_SPLIT_X + 24, SAT_ALT_Y);
        print_at_position(buffer, SAT_SPLIT_X + 24, SAT_ALT_Y);
    } else {
        print_at_position("--.-  ", SAT_SPLIT_X + 24, SAT_LAT_Y);
        print_at_position("--.-  ", SAT_SPLIT_X + 24, SAT_LON_Y);
        print_at_position("---m  ", SAT_SPLIT_X + 24, SAT_ALT_Y);
    }
}

void OLEDLayout::render_temp_pressure_values() {
    char buffer[32] = {0};

    if (!has_temp_press_cache) {
        print_at_position("T: --.-- C", TP_TEMP_X, TP_TEMP_Y);
        print_at_position("P: ----.--k", TP_PRESS_X, TP_PRESS_Y);
        return;
    }

    snprintf(buffer, sizeof(buffer), "T:%d.%02d C", temp_val1_cache,
             temp_val2_cache >= 0 ? temp_val2_cache / 10000 : -temp_val2_cache / 10000);
    print_at_position("           ", TP_TEMP_X, TP_TEMP_Y);
    print_at_position(buffer, TP_TEMP_X, TP_TEMP_Y);

    snprintf(buffer, sizeof(buffer), "P:%d.%02dk", press_val1_cache,
             press_val2_cache >= 0 ? press_val2_cache / 10000 : -press_val2_cache / 10000);
    print_at_position("           ", TP_PRESS_X, TP_PRESS_Y);
    print_at_position(buffer, TP_PRESS_X, TP_PRESS_Y);
}

void OLEDLayout::render_imu_values() {
    char buffer[32] = {0};

    if (!has_imu_cache) {
        print_at_position("X=+0.000", IMU_ONLY_X, IMU_ONLY_X_Y);
        print_at_position("Y=+0.000", IMU_ONLY_X, IMU_ONLY_Y_Y);
        print_at_position("Z=+0.000", IMU_ONLY_X, IMU_ONLY_Z_Y);
        return;
    }

    snprintf(buffer, sizeof(buffer), "X=%+0.3f", imu_x_cache);
    print_at_position("        ", IMU_ONLY_X, IMU_ONLY_X_Y);
    print_at_position(buffer, IMU_ONLY_X, IMU_ONLY_X_Y);

    snprintf(buffer, sizeof(buffer), "Y=%+0.3f", imu_y_cache);
    print_at_position("        ", IMU_ONLY_X, IMU_ONLY_Y_Y);
    print_at_position(buffer, IMU_ONLY_X, IMU_ONLY_Y_Y);

    snprintf(buffer, sizeof(buffer), "Z=%+0.3f", imu_z_cache);
    print_at_position("        ", IMU_ONLY_X, IMU_ONLY_Z_Y);
    print_at_position(buffer, IMU_ONLY_X, IMU_ONLY_Z_Y);
}

void OLEDLayout::display_mtk3333_time(const char* time_str) {
    k_mutex_lock(&display_mutex, K_FOREVER);
    if (time_str != nullptr) {
        snprintf(mtk_time_cache, sizeof(mtk_time_cache), "%s", time_str);
    }

    if (!display_updates_enabled || !is_view_active(View::SATELLITE)) {
        k_mutex_unlock(&display_mutex);
        return;
    }

    render_satellite_values();
    oled_wrapper->finalize();
    k_mutex_unlock(&display_mutex);
}

void OLEDLayout::display_mtk3333_satellites(int count) {
    k_mutex_lock(&display_mutex, K_FOREVER);
    mtk_sat_cache = count;

    if (!display_updates_enabled || !is_view_active(View::SATELLITE)) {
        k_mutex_unlock(&display_mutex);
        return;
    }

    render_satellite_values();
    oled_wrapper->finalize();
    k_mutex_unlock(&display_mutex);
}

void OLEDLayout::display_mtk3333_location(double latitude, double longitude, double altitude) {
    k_mutex_lock(&display_mutex, K_FOREVER);
    mtk_lat_cache = latitude;
    mtk_lon_cache = longitude;
    mtk_alt_cache = altitude;
    has_mtk_location_cache = true;

    if (!display_updates_enabled || !is_view_active(View::SATELLITE)) {
        k_mutex_unlock(&display_mutex);
        return;
    }

    render_satellite_values();
    oled_wrapper->finalize();
    k_mutex_unlock(&display_mutex);
}

void OLEDLayout::display_ublox_time(const char* time_str) {
    k_mutex_lock(&display_mutex, K_FOREVER);
    if (time_str != nullptr) {
        snprintf(ublox_time_cache, sizeof(ublox_time_cache), "%s", time_str);
    }

    if (!display_updates_enabled || !is_view_active(View::SATELLITE)) {
        k_mutex_unlock(&display_mutex);
        return;
    }

    render_satellite_values();
    oled_wrapper->finalize();
    k_mutex_unlock(&display_mutex);
}

void OLEDLayout::display_ublox_satellites(int count) {
    k_mutex_lock(&display_mutex, K_FOREVER);
    ublox_sat_cache = count;

    if (!display_updates_enabled || !is_view_active(View::SATELLITE)) {
        k_mutex_unlock(&display_mutex);
        return;
    }

    render_satellite_values();
    oled_wrapper->finalize();
    k_mutex_unlock(&display_mutex);
}

void OLEDLayout::display_ublox_location(double latitude, double longitude, double altitude) {
    k_mutex_lock(&display_mutex, K_FOREVER);
    ublox_lat_cache = latitude;
    ublox_lon_cache = longitude;
    ublox_alt_cache = altitude;
    has_ublox_location_cache = true;

    if (!display_updates_enabled || !is_view_active(View::SATELLITE)) {
        k_mutex_unlock(&display_mutex);
        return;
    }

    render_satellite_values();
    oled_wrapper->finalize();
    k_mutex_unlock(&display_mutex);
}

void OLEDLayout::display_imu_orientation(double x, double y, double z) {
    k_mutex_lock(&display_mutex, K_FOREVER);
    imu_x_cache = x;
    imu_y_cache = y;
    imu_z_cache = z;
    has_imu_cache = true;

    if (!display_updates_enabled || !is_view_active(View::IMU)) {
        k_mutex_unlock(&display_mutex);
        return;
    }

    render_imu_values();
    oled_wrapper->finalize();
    k_mutex_unlock(&display_mutex);
}

void OLEDLayout::display_temperature_pressure(int temp_val1, int temp_val2, int press_val1, int press_val2) {
    k_mutex_lock(&display_mutex, K_FOREVER);
    temp_val1_cache = temp_val1;
    temp_val2_cache = temp_val2;
    press_val1_cache = press_val1;
    press_val2_cache = press_val2;
    has_temp_press_cache = true;

    if (!display_updates_enabled || !is_view_active(View::TEMP_PRESSURE)) {
        k_mutex_unlock(&display_mutex);
        return;
    }

    render_temp_pressure_values();
    oled_wrapper->finalize();
    k_mutex_unlock(&display_mutex);
}

void OLEDLayout::display_status_message(const char* message) {
    k_mutex_lock(&display_mutex, K_FOREVER);
    if (oled_wrapper == nullptr) {
        k_mutex_unlock(&display_mutex);
        return;
    }
    oled_wrapper->clear();
    print_at_position(message, 0, 0);
    oled_wrapper->finalize();
    k_mutex_unlock(&display_mutex);
}

void OLEDLayout::display_wifi_waiting_message(const char* ssid) {
    k_mutex_lock(&display_mutex, K_FOREVER);
    if (oled_wrapper == nullptr) {
        k_mutex_unlock(&display_mutex);
        return;
    }

    char line1[32] = {0};
    char line2[32] = {0};

    if (ssid != nullptr && ssid[0] != '\0') {
        snprintf(line1, sizeof(line1), "Waiting for Wifi");
        snprintf(line2, sizeof(line2), "'%s'...", ssid);
    } else {
        snprintf(line1, sizeof(line1), "Waiting for Wifi...");
    }

    oled_wrapper->clear();
    draw_wifi_icon(52, 6);
    print_at_position(line1, 12, 40);
    if (line2[0] != '\0') {
        print_at_position(line2, 26, 52);
    }
    oled_wrapper->finalize();
    k_mutex_unlock(&display_mutex);
}

void OLEDLayout::display_agent_waiting_message() {
    k_mutex_lock(&display_mutex, K_FOREVER);
    if (oled_wrapper == nullptr) {
        k_mutex_unlock(&display_mutex);
        return;
    }

    oled_wrapper->clear();
    draw_waiting_icon(56, 8);
    print_at_position("Waiting for", 28, 42);
    print_at_position("ROS Agent", 34, 54);
    oled_wrapper->finalize();
    k_mutex_unlock(&display_mutex);
}

void OLEDLayout::show_startup_splash() {
    k_mutex_lock(&display_mutex, K_FOREVER);
    if (oled_wrapper == nullptr) {
        k_mutex_unlock(&display_mutex);
        return;
    }

    // Monochrome splash inspired by astro.jpeg (rover body, wheels, and logo mark).
    oled_wrapper->clear();

    // Rover body
    oled_wrapper->draw_rectangle(18, 9, 110, 37);
    oled_wrapper->draw_horizontal_line(20, 24, 103);

    // Wheels
    oled_wrapper->draw_circle(29, 49, 10);
    oled_wrapper->draw_circle(56, 49, 10);
    oled_wrapper->draw_circle(82, 49, 10);
    oled_wrapper->draw_circle(108, 49, 10);
    oled_wrapper->draw_circle(29, 49, 4);
    oled_wrapper->draw_circle(56, 49, 4);
    oled_wrapper->draw_circle(82, 49, 4);
    oled_wrapper->draw_circle(108, 49, 4);

    // Axle and suspension bars
    oled_wrapper->draw_horizontal_line(43, 30, 107);
    oled_wrapper->draw_horizontal_line(45, 30, 107);

    // Antenna
    oled_wrapper->draw_vertical_line(100, 1, 9);
    oled_wrapper->draw_rectangle(98, 0, 102, 2);

    // Orbit mark on the body
    oled_wrapper->draw_circle(61, 20, 7);
    for (int i = 0; i < 13; ++i) {
        oled_wrapper->draw_point(55 + i, 26 - i / 2);
    }

    oled_wrapper->print("astro", 46, 28);
    oled_wrapper->finalize();
    k_mutex_unlock(&display_mutex);
}

void OLEDLayout::draw_default_grid() {
    k_mutex_lock(&display_mutex, K_FOREVER);
    if (oled_wrapper != nullptr && display_updates_enabled) {
        show_active_view_locked();
    }
    k_mutex_unlock(&display_mutex);
}

void OLEDLayout::clear_screen() {
    k_mutex_lock(&display_mutex, K_FOREVER);
    if (oled_wrapper != nullptr) {
        oled_wrapper->clear();
    }
    k_mutex_unlock(&display_mutex);
}

void OLEDLayout::finalize_screen() {
    k_mutex_lock(&display_mutex, K_FOREVER);
    if (oled_wrapper != nullptr) {
        oled_wrapper->finalize();
    }
    k_mutex_unlock(&display_mutex);
}

void OLEDLayout::draw_bitmap_1bpp(const uint8_t* bitmap, int width, int height, int x, int y) {
    if (oled_wrapper == nullptr || bitmap == nullptr) {
        return;
    }

    const int row_stride_bytes = (width + 7) / 8;
    for (int row = 0; row < height; ++row) {
        for (int col = 0; col < width; ++col) {
            const int byte_index = row * row_stride_bytes + (col / 8);
            const uint8_t bit_mask = static_cast<uint8_t>(0x80U >> (col % 8));
            if ((bitmap[byte_index] & bit_mask) != 0U) {
                oled_wrapper->draw_point(x + col, y + row);
            }
        }
    }
}

void OLEDLayout::draw_satellite_icon(int x, int y) { draw_bitmap_1bpp(SATELLITE_ICON_14X10, 14, 10, x, y); }

void OLEDLayout::draw_clock_icon(int x, int y) { draw_bitmap_1bpp(CLOCK_ICON_8X8, 8, 8, x, y); }

void OLEDLayout::draw_imu_axis_icon(int x, int y) { draw_bitmap_1bpp(IMU_AXIS_ICON_16X16, 16, 16, x, y); }

void OLEDLayout::draw_temp_pressure_icon(int x, int y) { draw_bitmap_1bpp(TEMP_PRESS_ICON_16X16, 16, 16, x, y); }

void OLEDLayout::draw_wifi_icon(int x, int y) { draw_bitmap_1bpp(WIFI_ICON_24X16, 24, 16, x, y); }

void OLEDLayout::draw_waiting_icon(int x, int y) { draw_bitmap_1bpp(WAITING_ICON_16X16, 16, 16, x, y); }
```

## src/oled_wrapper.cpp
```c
/*
 *   This file is part of astro.
 *
 *   astro is free software: you can redistribute it and/or modify
 *   it under the terms of the GNU General Public License as published by
 *   the Free Software Foundation, either version 3 of the License, or
 *   (at your option) any later version.
 *
 *   astro is distributed in the hope that it will be useful,
 *   but WITHOUT ANY WARRANTY; without even the implied warranty of
 *   MERCHANTABILITY or FITNESS FOR A PARTICULAR PURPOSE.  See the
 *   GNU General Public License for more details.
 *
 *   You should have received a copy of the GNU General Public License v3.0
 *   along with astro.  If not, see <https://www.gnu.org/licenses/>.
 */

#include "oled_wrapper.hpp"

// Display parameters
#define MAX_FONTS 42

LOG_MODULE_REGISTER(oled_wrapper, LOG_LEVEL_DBG);

OLEDWrapper::OLEDWrapper(const struct device* display_dev) : display_dev(display_dev) {}

int OLEDWrapper::init() {
    if (!device_is_ready(display_dev)) {
        LOG_ERR("Display device not ready\n");
        return -ENODEV;
    }

    if (display_set_pixel_format(display_dev, PIXEL_FORMAT_MONO01) != 0) {
        LOG_ERR("Failed to set required pixel format");
        return -EIO;
    }

    if (cfb_framebuffer_init(display_dev)) {
        LOG_ERR("Framebuffer init failed\n");
        return -EIO;
    }
    _rows = cfb_get_display_parameter(display_dev, CFB_DISPLAY_ROWS);
    _ppt = cfb_get_display_parameter(display_dev, CFB_DISPLAY_PPT);

    int best_font_idx = 0;
    uint32_t best_area = UINT32_MAX;

    for (int idx = 0; idx < MAX_FONTS; idx++) {
        uint8_t w = 0, h = 0;
        if (cfb_get_font_size(display_dev, idx, &w, &h)) {
            break;  // end of font list, so exit loop.
        }

        LOG_DBG("index[%d] font width %d, font height %d", idx, w, h);

        uint32_t area = (uint32_t)w * h;
        if (area < best_area) {
            best_area = area;
            best_font_idx = idx;
            _font_width = w;
            _font_height = h;
        }
    }

    LOG_DBG("Selected smallest font index[%d] width %d, height %d", best_font_idx, _font_width, _font_height);
    cfb_framebuffer_set_font(display_dev, best_font_idx);

    cfb_framebuffer_invert(display_dev);  // Optional: Invert the display (bright text on dark background)

    return 0;
}

void OLEDWrapper::print(const char* message, int x, int y) { cfb_print(display_dev, message, x, y); }

void OLEDWrapper::clear() { cfb_framebuffer_clear(display_dev, true); }

void OLEDWrapper::finalize() { cfb_framebuffer_finalize(display_dev); }

void OLEDWrapper::draw_vertical_line(int x, int y_start, int y_end) {
    struct cfb_position start = {static_cast<uint16_t>(x), static_cast<uint16_t>(y_start)};
    struct cfb_position end = {static_cast<uint16_t>(x), static_cast<uint16_t>(y_end)};
    cfb_draw_line(display_dev, &start, &end);
}

void OLEDWrapper::draw_horizontal_line(int y, int x_start, int x_end) {
    struct cfb_position start = {static_cast<uint16_t>(x_start), static_cast<uint16_t>(y)};
    struct cfb_position end = {static_cast<uint16_t>(x_end), static_cast<uint16_t>(y)};
    cfb_draw_line(display_dev, &start, &end);
}
```

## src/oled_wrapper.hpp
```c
/*
 *   This file is part of astro.
 *
 *   astro is free software: you can redistribute it and/or modify
 *   it under the terms of the GNU General Public License as published by
 *   the Free Software Foundation, either version 3 of the License, or
 *   (at your option) any later version.
 *
 *   astro is distributed in the hope that it will be useful,
 *   but WITHOUT ANY WARRANTY; without even the implied warranty of
 *   MERCHANTABILITY or FITNESS FOR A PARTICULAR PURPOSE.  See the
 *   GNU General Public License for more details.
 *
 *   You should have received a copy of the GNU General Public License v3.0
 *   along with astro.  If not, see <https://www.gnu.org/licenses/>.
 */

#ifndef OLED_WRAPPER_HPP
#define OLED_WRAPPER_HPP
#include <zephyr/device.h>
#include <zephyr/display/cfb.h>
#include <zephyr/kernel.h>
#include <zephyr/logging/log.h>

class OLEDWrapper {
   public:
    OLEDWrapper(const struct device* display_dev);

    int init();

    void print(const char* message, int x, int y);

    void clear();

    void finalize();

    void draw_vertical_line(int x, int y_start, int y_end);

    void draw_horizontal_line(int y, int x_start, int x_end);

    void draw_point(int x, int y);

    void draw_rectangle(int x0, int y0, int x1, int y1);

    void draw_circle(int x, int y, int radius);

   private:
    const struct device* display_dev;
    uint16_t _rows = 0;
    uint8_t _ppt = 0;
    uint8_t _font_width = 0;
    uint8_t _font_height = 0;
};

#endif  // OLED_WRAPPER_HPP
```
